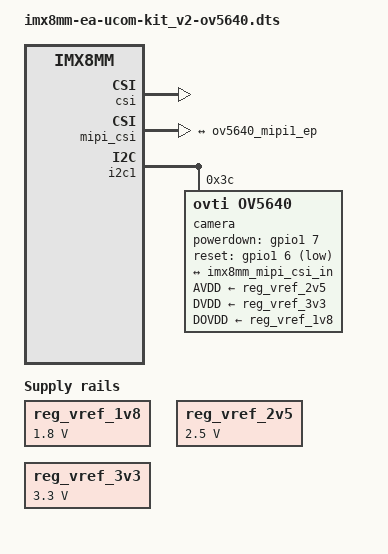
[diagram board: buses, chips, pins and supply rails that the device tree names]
/*
 * Copyright 2019 Embedded Artists AB
 *
 * The code contained herein is licensed under the GNU General Public
 * License. You may obtain a copy of the GNU General Public License
 * Version 2 or later at the following locations:
 *
 * http://www.opensource.org/licenses/gpl-license.html
 * http://www.gnu.org/copyleft/gpl.html
 */

/dts-v1/;

#include "imx8mm-ea-ucom-kit_v2.dts"

/ {

        regulators {
                compatible = "simple-bus";

		reg_vref_1v8: regulator-vref-1v8 {
			compatible = "regulator-fixed";
			regulator-name = "vref-1v8";
			regulator-min-microvolt = <1800000>;
			regulator-max-microvolt = <1800000>;
		};

		reg_vref_2v5: regulator-vref-2v5 {
			compatible = "regulator-fixed";
			regulator-name = "vref-2v5";
			regulator-min-microvolt = <2500000>;
			regulator-max-microvolt = <2500000>;
		};

		reg_vref_3v3: regulator-vref-3v3 {
			compatible = "regulator-fixed";
			regulator-name = "vref-3v3";
			regulator-min-microvolt = <3300000>;
			regulator-max-microvolt = <3300000>;
		};
	};
};

&csi {
	status = "okay";
};

&mipi_csi {
	status = "okay";
	ports {
		port@0 {
			imx8mm_mipi_csi_in: endpoint {
				remote-endpoint = <&ov5640_mipi1_ep>;
				data-lanes = <1 2>;
			};
		};

	};
};


&i2c1 {

	camera@3c {
		compatible = "ovti,ov5640";
		reg = <0x3c>;
		status = "okay";
		pinctrl-names = "default";
		pinctrl-0 = <&pinctrl_ov5640>;
		clocks = <&clk IMX8MM_CLK_CLKO1>;
		clock-names = "xclk";
		assigned-clocks = <&clk IMX8MM_CLK_CLKO1>;
		assigned-clock-parents = <&clk IMX8MM_CLK_24M>;
		assigned-clock-rates = <24000000>;
		csi_id = <0>;

		powerdown-gpios = <&gpio1 7 GPIO_ACTIVE_HIGH>;

		AVDD-supply = <&reg_vref_2v5>;
		DVDD-supply = <&reg_vref_3v3>;
		DOVDD-supply = <&reg_vref_1v8>;

		reset-gpios = <&gpio1 6 GPIO_ACTIVE_LOW>;
		mclk = <12000000>;
		mclk_source = <0>;
		mipi_csi;
		port {
			ov5640_mipi1_ep: endpoint {
				remote-endpoint = <&imx8mm_mipi_csi_in>;
				clock-lanes = <0>;
				data-lanes = <1 2>;
			};
		};
	};
};

&iomuxc {

        imx8mmea-kit {

                pinctrl_ov5640: ov5640grp {
                        fsl,pins = <
							MX8MM_IOMUXC_GPIO1_IO06_GPIO1_IO6		0x19
							MX8MM_IOMUXC_GPIO1_IO07_GPIO1_IO7		0x19
							MX8MM_IOMUXC_GPIO1_IO14_CCMSRCGPCMIX_CLKO1	0x59
                        >;
                };
	};
};
